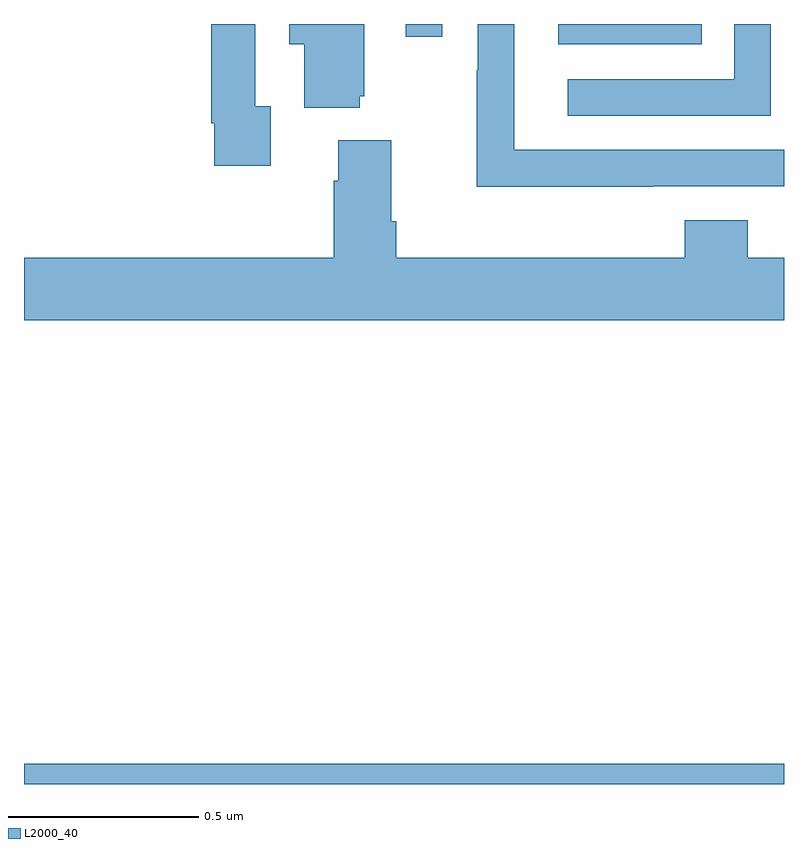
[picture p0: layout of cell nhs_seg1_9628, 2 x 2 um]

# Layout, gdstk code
import gdstk
lib = gdstk.Library(unit=1e-6, precision=1e-09)
def R(c, l, rs):  # rectangles x0, y0, x1, y1
    for r in rs: c.add(gdstk.rectangle(r[:2], r[2:], *l))
def P(c, l, *ps):  # polygons
    for p in ps: c.add(gdstk.Polygon(p, *l))
L2000_40 = (2000, 40)

nhs_seg1_9628 = lib.new_cell('nhs_seg1_9628')
R(nhs_seg1_9628, L2000_40, [(231,529.199,233,529.252), (232.406,531.146,232.784,531.199), (232.005,531.165,232.101,531.199)])
P(nhs_seg1_9628, L2000_40, [(232.655,530.772),(233,530.772),(233,530.868),(232.29,530.868),(232.29,531.199),(232.194,531.199),(232.194,531.077),(232.192,531.077),(232.192,530.771),(232.655,530.771)],
  [(231.649,530.982),(231.609,530.982),(231.609,531.199),(231.493,531.199),(231.493,530.938),(231.501,530.938),(231.501,530.826),(231.649,530.826)],
  [(232.965,531.199),(232.869,531.199),(232.869,531.054),(232.431,531.054),(232.431,530.958),(232.965,530.958)],
  [(231.884,531.009),(231.895,531.009),(231.895,531.199),(231.698,531.199),(231.698,531.146),(231.737,531.146),(231.737,530.978),(231.884,530.978)],
  [(233,530.584),(232.904,530.584),(232.904,530.683),(232.739,530.683),(232.739,530.584),(231.98,530.584),(231.98,530.68),(231.967,530.68),(231.967,530.893),(231.827,530.893),(231.827,530.786),(231.815,530.786),(231.815,530.584),(231,530.584),(231,530.42),(233,530.42)])

lib.write_gds('nhs_seg1_9628.gds')
